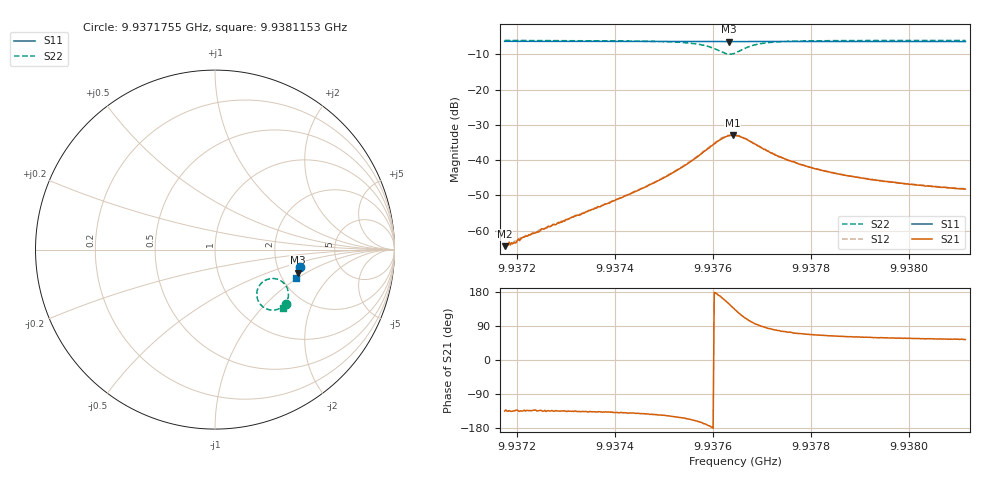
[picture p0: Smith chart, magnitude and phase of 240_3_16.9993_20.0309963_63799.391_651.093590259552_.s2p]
#  HZ  S  RI  R  50.00
! Rohde & Schwarz Vector Network Analyzer
! Rohde-Schwarz,ZNB20-2Port,1311601062101988,3.16
! Created: UTC 3/20/2024, 11:02:51 PM
! freq[Hz]  re:S11  im:S11  re:S21  im:S21  re:S12  im:S12  re:S22  im:S22
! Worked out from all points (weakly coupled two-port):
!   401 points, 9.9371755 GHz to 9.9381153 GHz, reference 50 ohm
!   highest |S21| = -32.95 dB at 9.9376407 GHz (marker M1); lowest = -64.4 dB at 9.9371755 GHz (marker M2)
!   lowest |S11| = -6.4 dB at 9.9376336 GHz (marker M3), VSWR 2.84, Z = 126 - j41.8 ohm
!   |S11| at or under -10 dB: nowhere
!   |S22| runs from -10.0 to -6.1 dB; largest |S21 - S12| = 0.0011
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9.93717546e9  0.4738 -0.0988  -0.000425 -0.000429  -0.000431 -0.000426  0.3956 -0.3021
9.9371966e9  0.4734 -0.1001  -0.000465 -0.000483  -0.00048 -0.00052  0.3938 -0.3036
9.93721305e9  0.4731 -0.1013  -0.000562 -0.000576  -0.000568 -0.000578  0.3924 -0.305
9.93724125e9  0.4725 -0.1031  -0.000672 -0.000682  -0.000692 -0.000654  0.3903 -0.3074
9.93725534e9  0.4723 -0.1039  -0.000742 -0.000745  -0.000754 -0.000748  0.389 -0.3086
9.93733288e9  0.4707 -0.1094  -0.00125 -0.00121  -0.00129 -0.00122  0.381 -0.3152
9.93742452e9  0.4688 -0.1155  -0.00241 -0.00205  -0.00246 -0.00207  0.3665 -0.3251
9.93749031e9  0.4671 -0.12  -0.00426 -0.00297  -0.00438 -0.00293  0.3474 -0.3333
9.93754201e9  0.4658 -0.1236  -0.00746 -0.00374  -0.00767 -0.00366  0.3181 -0.3372
9.9375843e9  0.4641 -0.1265  -0.0133 -0.00272  -0.0136 -0.00233  0.2711 -0.3217
9.93761719e9  0.4625 -0.1277  -0.0192 0.00482  -0.0197 0.00553  0.2328 -0.2541
9.93763364e9  0.4621 -0.1279  -0.0187 0.012  -0.0187 0.0128  0.2486 -0.1983
9.93764069e9  0.4621 -0.1281  -0.0169 0.0149  -0.0166 0.0156  0.2674 -0.1789
9.93764539e9  0.4621 -0.1281  -0.0152 0.0165  -0.0149 0.0171  0.2824 -0.1697
9.93765714e9  0.4623 -0.1285  -0.0105 0.0186  -0.01 0.0193  0.3222 -0.1608
9.93767124e9  0.4627 -0.1294  -0.00557 0.0185  -0.00496 0.0188  0.3615 -0.1707
9.93769943e9  0.4627 -0.1315  0.000346 0.015  0.000658 0.015  0.3993 -0.2084
9.93775113e9  0.462 -0.1355  0.00285 0.0097  0.00303 0.00984  0.4094 -0.2555
9.93780282e9  0.4609 -0.1392  0.00303 0.00714  0.00324 0.00717  0.4047 -0.2787
9.93787331e9  0.4593 -0.1439  0.00287 0.00531  0.00297 0.0053  0.3974 -0.296
9.93796025e9  0.457 -0.1496  0.0026 0.00417  0.0027 0.00417  0.3896 -0.3088
9.93811533e9  0.4529 -0.1597  0.00229 0.00315  0.00234 0.00317  0.3778 -0.3236
